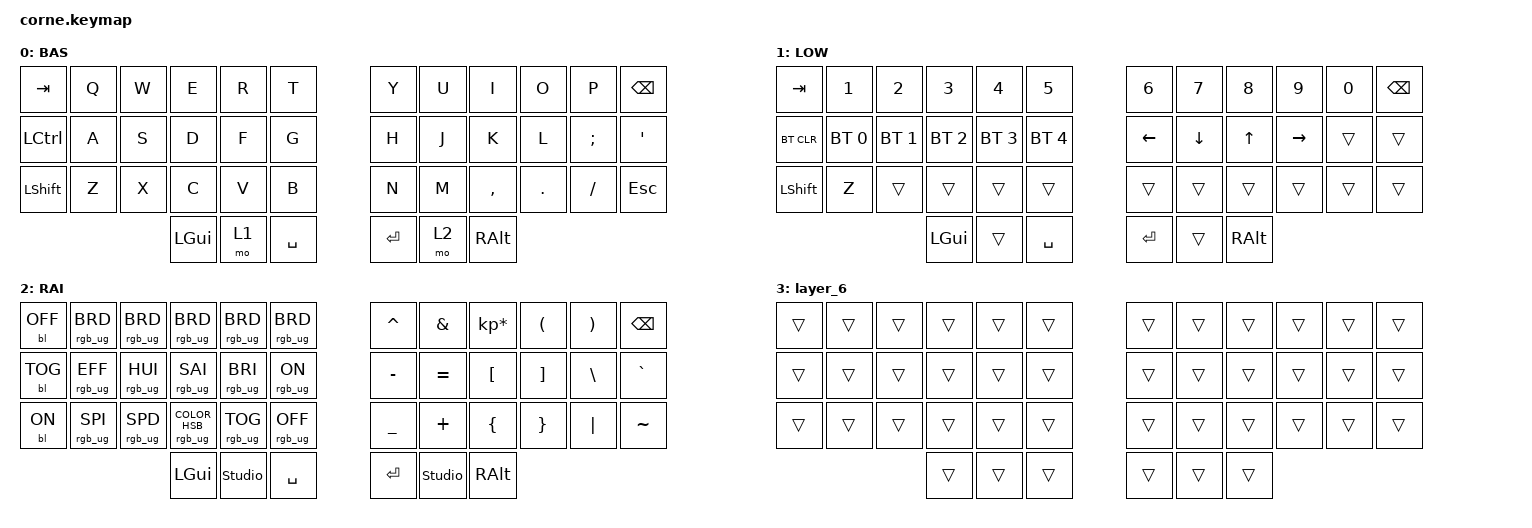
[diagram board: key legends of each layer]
/*
 * Copyright (c) 2020 The ZMK Contributors
 *
 * SPDX-License-Identifier: MIT
 */

#include <dt-bindings/led/led.h>
#include <dt-bindings/zmk/reset.h>
#include <behaviors.dtsi>
#include <dt-bindings/zmk/backlight.h>
#include <dt-bindings/zmk/bt.h>
#include <dt-bindings/zmk/keys.h>
#include <dt-bindings/zmk/rgb.h>

&led_strip { chain-length = <27>; };

/ {
    keymap {
        compatible = "zmk,keymap";

        default_layer {
            display-name = "BAS";

            // -----------------------------------------------------------------------------------------
            // |  TAB |  Q  |  W  |  E  |  R  |  T  |   |  Y  |  U   |  I  |  O  |  P  | BKSP |
            // | CTRL |  A  |  S  |  D  |  F  |  G  |   |  H  |  J   |  K  |  L  |  ;  |  '   |
            // | SHFT |  Z  |  X  |  C  |  V  |  B  |   |  N  |  M   |  ,  |  .  |  /  | ESC  |
            //                    | GUI | LWR | SPC |   | ENT | RSE  | ALT |

            bindings = <
&kp TAB    &kp Q  &kp W  &kp E     &kp R  &kp T        &kp Y    &kp U  &kp I      &kp O    &kp P     &kp BSPC
&kp LCTRL  &kp A  &kp S  &kp D     &kp F  &kp G        &kp H    &kp J  &kp K      &kp L    &kp SEMI  &kp SQT
&kp LSHFT  &kp Z  &kp X  &kp C     &kp V  &kp B        &kp N    &kp M  &kp COMMA  &kp DOT  &kp FSLH  &kp ESC
                         &kp LGUI  &mo 1  &kp SPACE    &kp RET  &mo 2  &kp RALT
            >;
        };

        lower_layer {
            display-name = "LOW";

            // -----------------------------------------------------------------------------------------
            // |  TAB |  1  |  2  |  3  |  4  |  5  |   |  6  |  7  |  8  |  9  |  0  | BKSP |
            // | BTCLR| BT1 | BT2 | BT3 | BT4 | BT5 |   | LFT | DWN |  UP | RGT |     |      |
            // | SHFT |     |     |     |     |     |   |     |     |     |     |     |      |
            //                    | GUI |     | SPC |   | ENT |     | ALT |

            bindings = <
&kp TAB     &kp N1        &kp N2        &kp N3        &kp N4        &kp N5          &kp N6    &kp N7    &kp N8    &kp N9     &kp N0  &kp BSPC
&bt BT_CLR  &bt BT_SEL 0  &bt BT_SEL 1  &bt BT_SEL 2  &bt BT_SEL 3  &bt BT_SEL 4    &kp LEFT  &kp DOWN  &kp UP    &kp RIGHT  &trans  &trans
&kp LSHFT   &kp Z         &trans        &trans        &trans        &trans          &trans    &trans    &trans    &trans     &trans  &trans
                                        &kp LGUI      &trans        &kp SPACE       &kp RET   &trans    &kp RALT
            >;
        };

        raise_layer {
            display-name = "RAI";

            // -----------------------------------------------------------------------------------------
            // |  TAB |  !  |  @  |  #  |  $  |  %  |   |  ^  |  &  |  *  |  (  |  )  | BKSP |
            // | CTRL |     |     |     |     |     |   |  -  |  =  |  [  |  ]  |  \  |  `   |
            // | SHFT |     |     |     |     |     |   |  _  |  +  |  {  |  }  | "|" |  ~   |
            //                    | GUI |     | SPC |   | ENT |     | ALT |

            bindings = <
&bl BL_OFF  &rgb_ug RGB_BRD  &rgb_ug RGB_BRD  &rgb_ug RGB_BRD                   &rgb_ug RGB_BRD  &rgb_ug RGB_BRD    &kp CARET  &kp AMPS        &kp KP_MULTIPLY  &kp LPAR  &kp RPAR  &kp BSPC
&bl BL_TOG  &rgb_ug RGB_EFF  &rgb_ug RGB_HUI  &rgb_ug RGB_SAI                   &rgb_ug RGB_BRI  &rgb_ug RGB_ON     &kp MINUS  &kp EQUAL       &kp LBKT         &kp RBKT  &kp BSLH  &kp GRAVE
&bl BL_ON   &rgb_ug RGB_SPI  &rgb_ug RGB_SPD  &rgb_ug RGB_COLOR_HSB(301,95,51)  &rgb_ug RGB_TOG  &rgb_ug RGB_OFF    &kp UNDER  &kp PLUS        &kp LBRC         &kp RBRC  &kp PIPE  &kp TILDE
                                              &kp LGUI                          &studio_unlock   &kp SPACE          &kp RET    &studio_unlock  &kp RALT
            >;
        };

        layer_6 {
            bindings = <
&trans  &trans  &trans  &trans  &trans  &trans    &trans  &trans  &trans  &trans  &trans  &trans
&trans  &trans  &trans  &trans  &trans  &trans    &trans  &trans  &trans  &trans  &trans  &trans
&trans  &trans  &trans  &trans  &trans  &trans    &trans  &trans  &trans  &trans  &trans  &trans
                        &trans  &trans  &trans    &trans  &trans  &trans
            >;
        };

        extra_1 { status = "reserved"; };

        extra_2 { status = "reserved"; };

        extra_3 { status = "reserved"; };
    };
};
